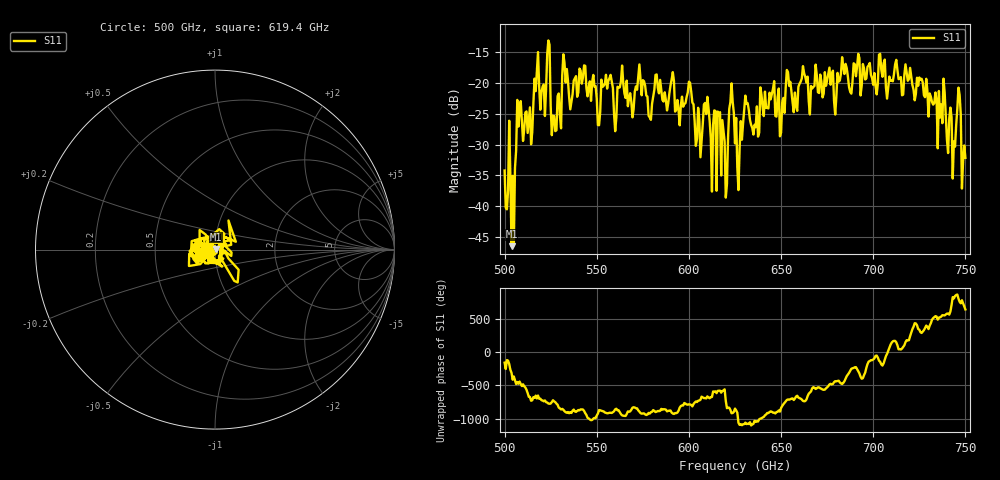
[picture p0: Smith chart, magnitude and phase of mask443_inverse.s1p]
!Created with skrf (http://scikit-rf.org).
# GHz S MA R 50.0
!freq magS11 angS11
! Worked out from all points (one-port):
!   401 points, 500 GHz to 750 GHz, reference 50 ohm
!   lowest |S11| = -46.5 dB at 503.8 GHz (marker M1), VSWR 1.01, Z = 50.3 + j0.337 ohm
!   |S11| at or under -10 dB: start of sweep to end of sweep
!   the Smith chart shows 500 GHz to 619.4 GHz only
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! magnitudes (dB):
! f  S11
! 500 GHz  -34.2
! 503.8 GHz  -46.5
! 505 GHz  -46.4
! 508.1 GHz  -24.5
! 513.8 GHz  -23.9
! 517.5 GHz  -18.1
! 520.6 GHz  -20.6
! 523.8 GHz  -13.1
! 526.9 GHz  -25.4
! 531.2 GHz  -18.8
! 562.5 GHz  -20.7
! 578.8 GHz  -25.6
! 590.6 GHz  -19.4
! 593.8 GHz  -22.8
! 600.6 GHz  -19.9
! 605 GHz  -24.0
! 609.4 GHz  -25.0
! 620 GHz  -38.6
! 623.1 GHz  -20.0
! 625 GHz  -29.8
! 627.5 GHz  -30.7
! 631.2 GHz  -23.4
! 656.2 GHz  -23.2
! 687.5 GHz  -21.4
! 718.8 GHz  -19.6
! 743.8 GHz  -29.5
! 746.2 GHz  -20.7
! 750 GHz  -32.2
